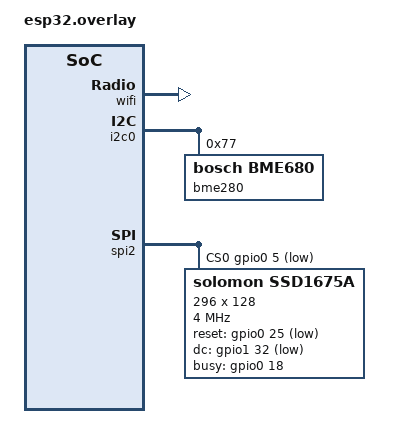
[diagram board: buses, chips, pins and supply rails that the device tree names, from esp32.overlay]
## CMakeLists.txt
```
# SPDX-License-Identifier: Apache-2.0

cmake_minimum_required(VERSION 3.20.0)
set(BOARD "esp32_devkitc_wroom")
set(DTC_OVERLAY_FILE "esp32.overlay")
find_package(Zephyr REQUIRED HINTS $ENV{ZEPHYR_BASE})
project(Minora)

target_sources(app PRIVATE src/main.c)

# file(GLOB ICON_SOURCES "icons/*.c")
# target_sources(app PRIVATE ${ICON_SOURCES})
target_sources(app PRIVATE icons/overcast.c)
target_sources(app PRIVATE icons/sunny.c)
target_sources(app PRIVATE icons/partly_cloudy.c)
target_sources(app PRIVATE icons/rainy.c)
target_sources(app PRIVATE icons/fog.c)
target_sources(app PRIVATE icons/bluetooth_14.c)
target_sources(app PRIVATE icons/kode_mono_bold_26.c)

target_sources(app PRIVATE src/wifi.c)
target_sources(app PRIVATE src/ble.c)
target_sources(app PRIVATE src/screen.c)
target_sources(app PRIVATE src/memory.c)
target_sources(app PRIVATE src/forecast.c)
```

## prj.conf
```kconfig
CONFIG_BT=y
CONFIG_LOG=y
CONFIG_BT_SMP=y
CONFIG_BT_PERIPHERAL=y
CONFIG_BT_DIS=y
CONFIG_BT_DIS_PNP=n
CONFIG_BT_DIS_MODEL="minora v1.0"
CONFIG_BT_DIS_MANUF="Julio Contreras Fuica"
CONFIG_BT_DEVICE_NAME="minora clock"
CONFIG_BT_DEVICE_APPEARANCE=256
CONFIG_BT_GATT_CLIENT=y
CONFIG_BT_DEVICE_NAME_DYNAMIC=y

CONFIG_EARLY_CONSOLE=y
CONFIG_POSIX_API=y

CONFIG_GPIO=y
CONFIG_SPI=y
CONFIG_ESP32_SPIM=y
CONFIG_DISPLAY=y
CONFIG_SSD16XX=y

CONFIG_I2C=y
# CONFIG_I2C_ESP32=y
CONFIG_SENSOR=y
# CONFIG_SENSOR_SHELL=y
CONFIG_BME680=y
CONFIG_SENSOR_ASYNC_API=y
CONFIG_SENSOR_LOG_LEVEL_DBG=y

# CONFIG_SHELL=y
# CONFIG_I2C_SHELL=y

CONFIG_FLASH=y
CONFIG_NVS=y

CONFIG_WIFI=y
CONFIG_HEAP_MEM_POOL_SIZE=20000
CONFIG_INIT_STACKS=y
CONFIG_NET_L2_WIFI_MGMT=y

CONFIG_SNTP=y

CONFIG_JSON_LIBRARY=y
CONFIG_FPU=y

#Esta ESP no tiene SPIRAM
# CONFIG_ESP_SPIRAM=y
# CONFIG_ESP32_WIFI_NET_ALLOC_SPIRAM=y

CONFIG_NETWORKING=y
CONFIG_NET_IPV4=y
CONFIG_NET_IPV6=y
CONFIG_NET_UDP=y
CONFIG_NET_TCP=y
CONFIG_DNS_RESOLVER=y
CONFIG_DNS_RESOLVER_AI_MAX_ENTRIES=10

CONFIG_NET_SOCKETS=y
CONFIG_HTTP_CLIENT=y

# Use DHCP for IPv4
CONFIG_NET_DHCPV4=y

# Or assign a static IP address (useful for testing)
# Following line must be enabled, otherwise WiFi connection fails with -1.
CONFIG_NET_CONFIG_SETTINGS=y
CONFIG_NET_HOSTNAME_ENABLE=y
CONFIG_NET_HOSTNAME="minora-"
CONFIG_NET_HOSTNAME_UNIQUE=y

# Enabling logging can be helpful for debugging
CONFIG_NET_LOG=y
CONFIG_WIFI_LOG_LEVEL_DBG=y
# CONFIG_NET_IPV6_LOG_LEVEL_DBG=y

CONFIG_NET_TX_STACK_SIZE=2048
CONFIG_NET_RX_STACK_SIZE=2048

CONFIG_NET_PKT_RX_COUNT=10
CONFIG_NET_PKT_TX_COUNT=10

CONFIG_NET_BUF_RX_COUNT=20
CONFIG_NET_BUF_TX_COUNT=20

CONFIG_NET_MAX_CONTEXTS=10

# Added to prevent error with missing #include <ethernet/eth_stats.h> for esp_wifi_drv.c
# Adding this line will cause CMAKE Warning: No SOURCES given to Zephyr library: drivers__ethernet
# Just ignore.
CONFIG_NET_L2_ETHERNET=y


CONFIG_LVGL=y
CONFIG_LV_CONF_MINIMAL=y
CONFIG_LV_USE_THEME_MONO=y
CONFIG_LV_USE_LOG=y
CONFIG_LV_USE_LABEL=y
CONFIG_LV_USE_IMG=y
CONFIG_LV_FONT_MONTSERRAT_16=y
CONFIG_LV_FONT_DEFAULT_MONTSERRAT_16=y
CONFIG_MAIN_STACK_SIZE=4096
CONFIG_LV_COLOR_DEPTH_1=y
CONFIG_LV_Z_BITS_PER_PIXEL=1
CONFIG_LV_Z_FULL_REFRESH=y
CONFIG_LV_Z_VDB_SIZE=100
CONFIG_LV_Z_MEM_POOL_SIZE=16384
CONFIG_LV_LOG_LEVEL_TRACE=y
```

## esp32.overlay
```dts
&wifi {
	status = "okay";
};

/ {
	chosen {
		zephyr,display = &ssd1675a;
	};
};


&i2c0 {
	status = "okay";
	bme280@77 {
		compatible = "bosch,bme680";
		status = "okay";
		reg = <0x77>;
	};
};


&spi2 {
    compatible = "espressif,esp32-spi";
    status = "okay";
    pinctrl-0 = <&spim2_default>; // zephyr\boards\xtensa\esp32\esp32-pinctrl.dtsi
    cs-gpios = <&gpio0 5 GPIO_ACTIVE_LOW>;
    ssd1675a: ssd1675a@0 { //gdem029e97
        compatible = "solomon,ssd1675a";
        reg = <0>;
        spi-max-frequency = <4000000>;
        reset-gpios = <&gpio0 25 GPIO_ACTIVE_LOW>;
        dc-gpios = <&gpio1 32 GPIO_ACTIVE_LOW>;
        busy-gpios = <&gpio0 18 GPIO_ACTIVE_HIGH>;
        height = <128>;
        width = <296>;
        //softstart = [d7 d6 9d];

		full {
            sdv = [41 a8 32];
            gdv = [15];
			vcom = <0x26>;
			border-waveform = <0x03>;
			dummy-line = <0x30>;
			gate-line-width = <0x0a>;
			lut = [
				/*
				 * Waveform Composition
				 *
				 * There are 7 Voltage Source (VS) Level groups
				 * n = {0,1,2...6}, each group contains
				 * 4 phases x = {A,B,C,D}.
				 * 2 bits represent the voltage in a phase:
				 * 00 – VSS, 01 – VSH1, 10 – VSL, 11 - VSH2
				 *
				 * For example 0x80 represents sequence VSL-VSS-VSS-VSS,
				 */
				80 60 40 00 00 00 00 /* LUT0: BB: VS 0..6 */
				10 60 20 00 00 00 00 /* LUT1: BW: VS 0..6 */
				80 60 40 00 00 00 00 /* LUT2: WB: VS 0..6 */
				10 60 20 00 00 00 00 /* LUT3: WW: VS 0..6 */
				00 00 00 00 00 00 00 /* LUT4: VCOM: VS 0..6 */
				/*
				 * TPnx determines the length of each phase,
				 * and RPn repeat count of a sequence.
				 * TPnA, TPnB, TPnC, TPnD, RPn
				 *
				 * For example TP0A=3, TP0B=3, and RP0=2:
				 * VS sequence                    : VSL-VSS-VSS-VSS
				 * number of Gate Pulses (length) :  3   3   0   0
				 * repeat count                   :        2
				 */
				03 03 00 00 02 /* TP0A TP0B TP0C TP0D RP0 */
				09 09 00 00 02 /* TP1A TP1B TP1C TP1D RP1 */
				03 03 00 00 02 /* TP2A TP2B TP2C TP2D RP2 */
				00 00 00 00 00 /* TP3A TP3B TP3C TP3D RP3 */
				00 00 00 00 00 /* TP4A TP4B TP4C TP4D RP4 */
				00 00 00 00 00 /* TP5A TP5B TP5C TP5D RP5 */
				00 00 00 00 00 /* TP6A TP6B TP6C TP6D RP6 */
			];
		};

		partial {
            sdv = [41 a8 32];
            gdv = [15];
			vcom = <0x26>;
			border-waveform = <0x01>;
			dummy-line = <0x30>;
			gate-line-width = <0x0a>;
			lut = [
				00 00 00 00 00 00 00 /* LUT0: BB: VS0..6 */
				80 00 00 00 00 00 00 /* LUT1: BW: VS0..6 */
				40 00 00 00 00 00 00 /* LUT2: WB: VS0..6 */
				80 00 00 00 00 00 00 /* LUT3: WW: VS0..6 */
				00 00 00 00 00 00 00 /* LUT4: VCOM: VS0..6 */
				0A 00 00 00 04 /* TP0A TP0B TP0C TP0D RP0 */
				00 00 00 00 00 /* TP1A TP1B TP1C TP1D RP1 */
				00 00 00 00 00 /* TP2A TP2B TP2C TP2D RP2 */
				00 00 00 00 00 /* TP3A TP3B TP3C TP3D RP3 */
				00 00 00 00 00 /* TP4A TP4B TP4C TP4D RP4 */
				00 00 00 00 00 /* TP5A TP5B TP5C TP5D RP5 */
				00 00 00 00 00 /* TP6A TP6B TP6C TP6D RP6 */
			];
		};
    };
};
```

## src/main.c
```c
/* main.c - Application main entry point */

#include <zephyr/types.h>
#include <stddef.h>
#include <string.h>
#include <errno.h>
#include <zephyr/sys/printk.h>
#include <zephyr/sys/byteorder.h>
#include <zephyr/kernel.h>

#include <time.h>
#include <zephyr/sys/timeutil.h>
#include <zephyr/logging/log.h>

#include <zephyr/device.h>
#include <zephyr/devicetree.h>
#include <zephyr/drivers/sensor.h>
#include <zephyr/drivers/sensor_data_types.h>
#include <zephyr/rtio/rtio.h>
#include <zephyr/dsp/print_format.h>

#include "screen.h"
#include "wifi.h"
#include "ble.h"
#include "memory.h"
#include "forecast.h"

const int gmt_offset = -4 * MIN_PER_HOUR * SEC_PER_MIN;

#define API_SERVER "api.open-meteo.com"
#define API_URL "/v1/forecast?latitude=-33.4569&longitude=-70.6483&daily=temperature_2m_max,temperature_2m_min,weather_code&timezone=auto&forecast_days=2&hourly=temperature_2m,weather_code"


const struct device *const dev = DEVICE_DT_GET_ANY(bosch_bme680);

SENSOR_DT_READ_IODEV(iodev, DT_COMPAT_GET_ANY_STATUS_OKAY(bosch_bme680),
		{SENSOR_CHAN_AMBIENT_TEMP, 0},
		{SENSOR_CHAN_HUMIDITY, 0},
		{SENSOR_CHAN_PRESS, 0});

RTIO_DEFINE(ctx, 1, 1);

static const struct device *check_bme680_device(void)
{
	if (dev == NULL) {
		/* No such node, or the node does not have status "okay". */
		printk("\nError: no device found.\n");
		return NULL;
	}

	if (!device_is_ready(dev)) {
		printk("\nError: Device \"%s\" is not ready; "
		       "check the driver initialization logs for errors.\n",
		       dev->name);
		return NULL;
	}

	printk("Found device \"%s\", getting sensor data\n", dev->name);
	return dev;
}


int main(void){

  printk("Iniciando app\n");

  const struct device *dev = check_bme680_device();

  memory_init();

  ble_init();

  screen_init();

  wifi_init();
  
  bool once = false;

  while (1) {
    k_sleep(K_SECONDS(1));
    struct timespec tspec;
    clock_gettime(CLOCK_REALTIME, &tspec);
    // tspec.tv_sec += gmt_offset;
    struct tm *tiempo;
    tiempo = gmtime(&tspec.tv_sec);
    printk("Hora: %02d:%02d:%02d del %02d/%02d/%04d\n", tiempo->tm_hour, tiempo->tm_min, tiempo->tm_sec, tiempo->tm_mday, tiempo->tm_mon + 1, tiempo->tm_year + 1900);
    printk("get epoch: %lld\n", tspec.tv_sec);

    if(!once && wifi_is_connected()){
      wifi_get_ntp();
      once = true;
    }

    forecast_update_data(wifi_is_connected(), tspec.tv_sec, API_SERVER, API_URL);

    screen_update_forecast(tspec.tv_sec);
    
    // screen_refresh(); //quitar esto para evitar valores por default al inicio

    struct sensor_value value;
    if (sensor_sample_fetch(dev) == 0){
			float temp;
			float hum;
		  if(sensor_channel_get(dev, SENSOR_CHAN_AMBIENT_TEMP, &value) == 0) {
				temp = value.val1 + (value.val2 * 10E-6);
				printk("Temp %0.2f C\n", temp);
			}
			if(sensor_channel_get(dev, SENSOR_CHAN_HUMIDITY, &value) == 0) {
				hum = value.val1 + (value.val2 * 10E-6);
				printk("Hum %0.2f %%\n", hum);
			}
      screen_set_indoor_sensor(temp, hum);

		}

		k_sleep(K_MSEC(1000));

  }
  return 0;
}
```

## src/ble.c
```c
#include "ble.h"

#include <zephyr/bluetooth/bluetooth.h>
#include <zephyr/bluetooth/hci.h>
#include <zephyr/bluetooth/conn.h>
#include <zephyr/bluetooth/uuid.h>
#include <zephyr/bluetooth/gatt.h>
#include <time.h>
#include <zephyr/sys/timeutil.h>

#include "wifi.h"
#include "screen.h"
#include "memory.h"

static ssize_t write_ssid(struct bt_conn *conn, const struct bt_gatt_attr *attr,
                          const void *buf, uint16_t len, uint16_t offset,
                          uint8_t flags);
                      
static ssize_t write_pass(struct bt_conn *conn, const struct bt_gatt_attr *attr,
                          const void *buf, uint16_t len, uint16_t offset,
                          uint8_t flag);

#define BT_UUID_WIFI_SVC         BT_UUID_DECLARE_16(0x1820) //Internet Protocol Support service

#define BT_UUID_WIFI_SSID_CHRC   BT_UUID_DECLARE_16(0x2b37) //Registered User

#define BT_UUID_WIFI_PASS_CHRC   BT_UUID_DECLARE_16(0x2a02) //Peripheral Privacy Flag

//Scan Response data
// static const struct bt_data sd[] = {
//  BT_DATA(BT_DATA_NAME_COMPLETE, DEVICE_NAME, DEVICE_NAME_LEN),
// };

//Advertisement data
static const struct bt_data ad[] = {
  BT_DATA_BYTES(BT_DATA_FLAGS, (BT_LE_AD_GENERAL | BT_LE_AD_NO_BREDR)),
  BT_DATA_BYTES(BT_DATA_UUID16_ALL,
          BT_UUID_16_ENCODE(BT_UUID_HRS_VAL),
          BT_UUID_16_ENCODE(BT_UUID_BAS_VAL),
          BT_UUID_16_ENCODE(BT_UUID_DIS_VAL))
};

BT_GATT_SERVICE_DEFINE(wifi_svc,
  BT_GATT_PRIMARY_SERVICE(BT_UUID_WIFI_SVC),

  /* WiFi */
  BT_GATT_CHARACTERISTIC(BT_UUID_WIFI_SSID_CHRC,
             BT_GATT_CHRC_READ | BT_GATT_CHRC_WRITE,
             BT_GATT_PERM_WRITE,
             NULL, write_ssid, wifi_ssid),

  BT_GATT_CUD("SSID Wi-Fi", BT_GATT_PERM_READ),

  BT_GATT_CHARACTERISTIC(BT_UUID_WIFI_PASS_CHRC,
             BT_GATT_CHRC_READ | BT_GATT_CHRC_WRITE,
             BT_GATT_PERM_WRITE,
             NULL, write_pass, wifi_pass),

  BT_GATT_CUD("PASS Wi-Fi", BT_GATT_PERM_READ)
);

// Función para manejar las solicitudes de escritura en la característica WiFi
static ssize_t write_ssid(struct bt_conn *conn, const struct bt_gatt_attr *attr,
                          const void *buf, uint16_t len, uint16_t offset,
                          uint8_t flags)
{
  if (offset + len > sizeof(wifi_ssid)) {
    return BT_GATT_ERR(BT_ATT_ERR_INVALID_OFFSET);
  }

  memset(wifi_ssid, 0, 50);
  memcpy(wifi_ssid + offset, buf, len);
  wifi_ssid_set = true;

  memory_set_wifi_ssid(wifi_ssid, strlen(wifi_ssid));
  printk("SSID seteado desde BT: %s\n", wifi_ssid);

  return len;
}

static ssize_t write_pass(struct bt_conn *conn, const struct bt_gatt_attr *attr,
                          const void *buf, uint16_t len, uint16_t offset,
                          uint8_t flags)
{
  if (offset + len > sizeof(wifi_pass)) {
    return BT_GATT_ERR(BT_ATT_ERR_INVALID_OFFSET);
  }

  memset(wifi_pass, 0, 50);
  memcpy(wifi_pass + offset, buf, len);
  wifi_pass_set = true;

  memory_set_wifi_pass(wifi_pass, strlen(wifi_pass));
  printk("PASS seteado desde BT: %s\n", wifi_pass);

  return len;
}


typedef struct {
  uint16_t year;
  uint8_t month;
  uint8_t day;
  uint8_t hours;
  uint8_t minutes;
  uint8_t seconds;
  uint8_t day_of_week;
  uint8_t exact_time_256;
  uint8_t adjust_reason;
} cts_datetime_t;


static struct {
  int offset;
  cts_datetime_t datetime;
} m_read_buf;

static struct bt_uuid_16 uuid = BT_UUID_INIT_16(0);
static struct bt_gatt_read_params read_params;

static struct tm hora = { 0 };

uint8_t cts_sync_read(struct bt_conn *conn, uint8_t err,
            struct bt_gatt_read_params *params,
            const void *data, uint16_t length)
{

  if (!data || length <= 0) {
    return BT_GATT_ITER_STOP;
  }

  memcpy(&m_read_buf.datetime + m_read_buf.offset, data, length);
  m_read_buf.offset += length;
  printk("%d:%d:%d %02d/%02d/%04d\n", m_read_buf.datetime.hours, m_read_buf.datetime.minutes, m_read_buf.datetime.seconds, m_read_buf.datetime.day, m_read_buf.datetime.month, m_read_buf.datetime.year);

  hora.tm_sec = m_read_buf.datetime.seconds;
  hora.tm_min = m_read_buf.datetime.minutes;
  hora.tm_hour = m_read_buf.datetime.hours;
  hora.tm_mday = m_read_buf.datetime.day;
  hora.tm_mon = m_read_buf.datetime.month - 1;
  hora.tm_year = m_read_buf.datetime.year - 1900;
  hora.tm_wday = m_read_buf.datetime.day_of_week;
  hora.tm_yday = -1;
  hora.tm_isdst = -1;



  time_t epoch = timeutil_timegm(&hora);
  struct timespec tspec;
  tspec.tv_sec = epoch;
  tspec.tv_nsec= 0;
  printk("Epoch: %lld\n", epoch);
  clock_settime(CLOCK_REALTIME, &tspec);

  return BT_GATT_ITER_CONTINUE;
}

static void connected(struct bt_conn *conn, uint8_t err)
{
  if (err) {
    printk("Connection failed (err 0x%02x)\n", err);
    return;
  }

  printk("Connected\n");
  memcpy(&uuid, BT_UUID_CTS_CURRENT_TIME, sizeof(uuid));
  memset(&read_params, 0, sizeof(read_params));
  read_params.func = cts_sync_read;
  read_params.by_uuid.uuid = (struct bt_uuid *) &uuid;
  read_params.by_uuid.start_handle = 0x0001;//attr->handle;
  read_params.by_uuid.end_handle = 0xffff;
  m_read_buf.offset = 0;
  bt_gatt_read(conn, &read_params);

  screen_show_bt_icon();
  
}

static void disconnected(struct bt_conn *conn, uint8_t reason)
{
  printk("Disconnected (reason 0x%02x)\n", reason);
  screen_hide_bt_icon();
}

BT_CONN_CB_DEFINE(conn_callbacks) = {
  .connected = connected,
  .disconnected = disconnected,
};

static void bt_ready(void)
{
  int err;

  printk("Bluetooth initialized\n");

  err = bt_le_adv_start(BT_LE_ADV_CONN_NAME, ad, ARRAY_SIZE(ad), NULL, 0);
  if (err) {
    printk("Advertising failed to start (err %d)\n", err);
    return;
  }

  printk("Advertising successfully started\n");
}

static void auth_cancel(struct bt_conn *conn)
{
  char addr[BT_ADDR_LE_STR_LEN];

  bt_addr_le_to_str(bt_conn_get_dst(conn), addr, sizeof(addr));

  printk("Pairing cancelled: %s\n", addr);
}

static struct bt_conn_auth_cb auth_cb_display = {
  .cancel = auth_cancel,
};

void ble_init(){

  bt_addr_le_t addr = {0};
  size_t count = 1;

  int err = bt_enable(NULL);
  if (err) {
    printk("Bluetooth init failed (err %d)\n", err);
    return;
  }

  bt_ready();

  bt_conn_auth_cb_register(&auth_cb_display);
  

  bt_id_get(&addr, &count);
  printk("%02x%02x\n", addr.a.val[1], addr.a.val[0]);
  char ble_name[30];
  sprintf(ble_name, "%s %02X%02X", CONFIG_BT_DEVICE_NAME, addr.a.val[1], addr.a.val[0]);

  bt_set_name(ble_name);
  bt_le_adv_update_data(ad, ARRAY_SIZE(ad), NULL, 0);

}
```

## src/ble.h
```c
#pragma once

#include <zephyr/kernel.h>
#include <zephyr/types.h>


void ble_init();
```

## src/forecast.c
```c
#include "forecast.h"
#include <zephyr/kernel.h>
#include <zephyr/net/socket.h>
#include <zephyr/data/json.h>
#include <zephyr/logging/log.h>

#include <zephyr/net/net_ip.h>
#include <zephyr/net/tls_credentials.h>
#include <zephyr/net/http/client.h>


LOG_MODULE_REGISTER(forecast);

#define MAX_RECV_BUF_LEN 3000
#define HTTP_PORT "80"
#define API_UPDATE_INTERVAL (3600*6) //seconds

static uint8_t recv_buf[MAX_RECV_BUF_LEN];

K_SEM_DEFINE(api_req_sem, 1, 1);

const struct json_obj_descr hourly_units_descr[] = {
  JSON_OBJ_DESCR_PRIM(struct hourly_units, time, JSON_TOK_STRING),
  JSON_OBJ_DESCR_PRIM(struct hourly_units, temperature_2m, JSON_TOK_STRING),
  JSON_OBJ_DESCR_PRIM(struct daily_units, weather_code, JSON_TOK_STRING)
};

const struct json_obj_descr hourly_descr[] = {
  JSON_OBJ_DESCR_ARRAY(struct hourly, time, 48, time_len, JSON_TOK_STRING),
  JSON_OBJ_DESCR_ARRAY(struct hourly, temperature_2m, 48, temperature_2m_len, JSON_TOK_FLOAT),
  JSON_OBJ_DESCR_ARRAY(struct hourly, weather_code, 48, weather_code_len, JSON_TOK_NUMBER),
};

const struct json_obj_descr daily_units_descr[] = {
  JSON_OBJ_DESCR_PRIM(struct daily_units, time, JSON_TOK_STRING),
  JSON_OBJ_DESCR_PRIM(struct daily_units, temperature_2m_max, JSON_TOK_STRING),
  JSON_OBJ_DESCR_PRIM(struct daily_units, temperature_2m_min, JSON_TOK_STRING),
  JSON_OBJ_DESCR_PRIM(struct daily_units, weather_code, JSON_TOK_STRING)
};

const struct json_obj_descr daily_descr[] = {
  JSON_OBJ_DESCR_ARRAY(struct daily, time, 2, time_len, JSON_TOK_STRING),
  JSON_OBJ_DESCR_ARRAY(struct daily, temperature_2m_max, 2, temperature_2m_max_len, JSON_TOK_FLOAT),
  JSON_OBJ_DESCR_ARRAY(struct daily, temperature_2m_min, 2, temperature_2m_min_len, JSON_TOK_FLOAT),
  JSON_OBJ_DESCR_ARRAY(struct daily, weather_code, 2, weather_code_len, JSON_TOK_NUMBER),
};

const struct json_obj_descr weather_data_descr[] = {
  JSON_OBJ_DESCR_PRIM(struct weather_data, latitude, JSON_TOK_FLOAT),
  JSON_OBJ_DESCR_PRIM(struct weather_data, longitude, JSON_TOK_FLOAT),
  JSON_OBJ_DESCR_PRIM(struct weather_data, generationtime_ms, JSON_TOK_FLOAT),
  JSON_OBJ_DESCR_PRIM(struct weather_data, utc_offset_seconds, JSON_TOK_NUMBER),
  JSON_OBJ_DESCR_PRIM(struct weather_data, timezone, JSON_TOK_STRING),
  JSON_OBJ_DESCR_PRIM(struct weather_data, timezone_abbreviation, JSON_TOK_STRING),
  JSON_OBJ_DESCR_PRIM(struct weather_data, elevation, JSON_TOK_FLOAT),
  JSON_OBJ_DESCR_OBJECT(struct weather_data, hourly_units, hourly_units_descr),
  JSON_OBJ_DESCR_OBJECT(struct weather_data, hourly, hourly_descr),
  JSON_OBJ_DESCR_OBJECT(struct weather_data, daily_units, daily_units_descr),
  JSON_OBJ_DESCR_OBJECT(struct weather_data, daily, daily_descr)
};

struct weather_data wd;
bool parse_ok = false;

static bool forecast_parse_JSON(char *json_data);


static int setup_socket(const char *server, const char *port, int *sock)
{
  int ret = 0;

  struct zsock_addrinfo hints, *res;

  memset(&hints, 0, sizeof(hints));
  hints.ai_family = AF_INET;
  hints.ai_socktype = SOCK_STREAM;

  ret = zsock_getaddrinfo(server, port, &hints, &res);
  if (ret != 0) {
    LOG_ERR("getaddrinfo() failed: %d", ret);
    return -EINVAL;
  }

  *sock = zsock_socket(res->ai_family, res->ai_socktype, res->ai_protocol);

  if (*sock < 0) {
    LOG_ERR("Failed to create HTTP socket (%d)", -errno);
    zsock_freeaddrinfo(res);
    return -errno;
  }

  ret = zsock_connect(*sock, res->ai_addr, res->ai_addrlen);
  if (ret < 0) {
    LOG_ERR("Cannot connect to remote (%d)", -errno);
    zsock_close(*sock);
    *sock = -1;
    zsock_freeaddrinfo(res);
    return -errno;
  }

  zsock_freeaddrinfo(res);
  return 0;
}

static void response_cb(struct http_response *rsp, enum http_final_call final_data, void *user_data)
{
  if (final_data == HTTP_DATA_MORE) {
    LOG_INF("Partial data received (%zd bytes)", rsp->data_len);
  } else if (final_data == HTTP_DATA_FINAL) {
    LOG_INF("All the data received (%zd bytes)", rsp->data_len);
  }

  LOG_INF("GET response status %s", rsp->http_status);
  // printk(strchr(rsp->recv_buf, '{'));
  parse_ok = forecast_parse_JSON(strchr(rsp->recv_buf, '{'));
}


int forecast_get(const char *server, const char *url){
  
  k_sem_take(&api_req_sem, K_FOREVER);

  struct sockaddr_in addr;
  int sock = -1;
  int32_t timeout = 10 * MSEC_PER_SEC;
  int ret = 0;

  ret = setup_socket(server, HTTP_PORT, &sock);
  if (sock < 0) {
    LOG_ERR("Cannot create HTTP connection.");
    return -ECONNABORTED;
  }

  struct http_request req;
  memset(&req, 0, sizeof(req));

  req.method = HTTP_GET;
  req.url = url;
  req.host = server;
  req.protocol = "HTTP/1.1";
  req.response = response_cb;
  req.recv_buf = recv_buf;
  req.recv_buf_len = sizeof(recv_buf);

  ret = http_client_req(sock, &req, timeout, NULL);

  zsock_close(sock);

  return ret;
}


static bool forecast_parse_JSON(char *json_data){

  int ret = json_obj_parse(json_data, strlen(json_data), weather_data_descr, ARRAY_SIZE(weather_data_descr), &wd);

  k_sem_give(&api_req_sem);

  if (ret < 0) {
    printk("Error parsing JSON: %d\n", ret);
    return false;
  } else {
    // printk("Maximas: %f   %f\n", wd.daily.temperature_2m_max[0], wd.daily.temperature_2m_max[1]);
    // printk("codes: %d %d\n", wd.daily.weather_code[0], wd.daily.weather_code[1]);
    // printk("timezone: %s (%s)\n", wd.timezone, wd.timezone_abbreviation);
    return true;
  }
}

struct weather_data *forecast_get_parsed_data(){
  if(parse_ok && k_sem_count_get(&api_req_sem)){
    return &wd;
  }else{
    return NULL;
  }
}


/********************************************************************************/

struct my_json_data {
  float my_float_number;
};

static const struct json_obj_descr my_json_descr[] = {
  JSON_OBJ_DESCR_PRIM(struct my_json_data, my_float_number, JSON_TOK_FLOAT),
};

void test_float(void)
{
  char *json_str = "{\"my_float_number\": 3.14}sjlf";
  struct my_json_data data;

  int ret = json_obj_parse(json_str, strlen(json_str), my_json_descr, ARRAY_SIZE(my_json_descr), &data);
  if (ret < 0) {
    printk("Failed to parse JSON: %d\n", ret);
  } else {
    printk("Parsed float number: %f\n", data.my_float_number);
  }
}

void forecast_update_data(bool conn, time_t t_now, const char *server, const char *url){
  static time_t last_update = 0;
  static int64_t delay = 0;
  static bool first_time = true;

  if (!conn){
    return;
  }

  if(!parse_ok && k_uptime_get() > delay){
    LOG_INF("Actualizando forecast");
    forecast_get(server, url);
    delay = k_uptime_get() + (1000*15);
    return;
  }

  t_now += wd.utc_offset_seconds;

  if(t_now - last_update >= API_UPDATE_INTERVAL){

    last_update = t_now - (t_now % API_UPDATE_INTERVAL);

    if(first_time){
      LOG_INF("First time, se actualizara a las %lld", last_update + API_UPDATE_INTERVAL);
      first_time = false;
      return;
    }

    LOG_INF("Actualizando forecast");
    forecast_get(server, url);

  }
}
```

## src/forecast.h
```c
#pragma once

#include "forecast_json_defs.h"

int forecast_get(const char *server, const char *url);

struct weather_data *forecast_get_parsed_data();

void forecast_update_data(bool conn, time_t t_now, const char *server, const char *url);
```

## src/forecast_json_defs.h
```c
#pragma once

#include <zephyr/data/json.h>

/******************IMPORTANT********************
Fue necesario modificar la librería JSON de Zephyr,
específicamente el archivo /zephyrproject/zephyr/lib/os/json.c,
que corresponde a este: https://github.com/zephyrproject-rtos/zephyr/blob/main/lib/utils/json.c

- En la función: static int64_t decode_value(struct json_obj *obj,
			    const struct json_obj_descr *descr,
			    struct json_token *value, void *field, void *val)

case JSON_TOK_OPAQUE: {
  struct json_obj_token *obj_token = field;

  obj_token->start = value->start;
  obj_token->length = value->end - value->start;
  return 0;
}
case JSON_TOK_FLOAT: {
  float *num = field;
  char *endptr;
  *num = strtol(value->start, &endptr, 10);
  if(*endptr == '.' && *(endptr + 1) >= '0' && *(endptr + 1) <= '9'){
  //Esta implementación soporta un solo número decimal
  //This implementation supports just one decimal place
    *num += (double)((*(endptr + 1) - '0') / 10.0);
  }else if (endptr != value->end) {
    return -EINVAL;
  }
  return 0;
}


- En la función: static ptrdiff_t get_elem_size(const struct json_obj_descr *descr)

  case JSON_TOK_FLOAT:
		return sizeof(float);
	case JSON_TOK_OPAQUE:
	case JSON_TOK_OBJ_ARRAY:
		return sizeof(struct json_obj_token);
    
*******************IMPORTANT********************/

struct hourly_units {
  const char *time;
  const char *temperature_2m;
  const char *weather_code;
};

struct hourly {
  const char *time[48];
  float temperature_2m[48];
  int weather_code[48];
  size_t time_len;
  size_t temperature_2m_len;
  size_t weather_code_len;
};

struct daily_units {
  const char *time;
  const char *temperature_2m_max;
  const char *temperature_2m_min;
  const char *weather_code;
};

struct daily {
  const char *time[2];
  float temperature_2m_max[2];
  float temperature_2m_min[2];
  int weather_code[2];
  size_t time_len;
  size_t temperature_2m_max_len;
  size_t temperature_2m_min_len;
  size_t weather_code_len;
};

struct weather_data {
  float latitude;
  float longitude;
  float generationtime_ms;
  int utc_offset_seconds;
  const char *timezone;
  const char *timezone_abbreviation;
  float elevation;
  struct hourly_units hourly_units;
  struct hourly hourly;
  struct daily_units daily_units;
  struct daily daily;
};
```

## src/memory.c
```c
#include "memory.h"
#include <zephyr/kernel.h>
#include <zephyr/device.h>
#include <string.h>
#include <zephyr/drivers/flash.h>
#include <zephyr/storage/flash_map.h>
#include <zephyr/fs/nvs.h>
#include <zephyr/logging/log.h>

LOG_MODULE_REGISTER(memory);


static struct nvs_fs fs;

#define NVS_PARTITION    storage_partition
#define NVS_PARTITION_DEVICE  FIXED_PARTITION_DEVICE(NVS_PARTITION)
#define NVS_PARTITION_OFFSET  FIXED_PARTITION_OFFSET(NVS_PARTITION)


#define WIFI_SSID_ID 1
#define WIFI_PASS_ID 2

void memory_init(){
  int rc = 0;
  struct flash_pages_info info;

  fs.flash_device = NVS_PARTITION_DEVICE;
  if (!device_is_ready(fs.flash_device)) {
    printk("Flash device %s is not ready\n", fs.flash_device->name);
    return;
  }
  fs.offset = NVS_PARTITION_OFFSET;
  rc = flash_get_page_info_by_offs(fs.flash_device, fs.offset, &info);
  if (rc) {
    printk("Unable to get page info\n");
    return;
  }
  fs.sector_size = info.size;
  fs.sector_count = 3U;

  rc = nvs_mount(&fs);
  if (rc) {
    printk("Flash Init failed\n");
    return;
  }
}

char* memory_check_wifi_ssid(){
  int rc = 0;
  static char ssid[30];
  memset(ssid, 0, sizeof(ssid));

  rc = nvs_read(&fs, WIFI_SSID_ID, ssid, sizeof(ssid));
  if (rc > 0) {
    LOG_INF("Id: %d, WiFi SSID: %s, len: %d", WIFI_SSID_ID, ssid, rc);
    return ssid;
  } else {
    LOG_INF("No exite wifi ssid");
    return NULL;
  }
}


char* memory_check_wifi_pass(){
  int rc = 0;
  static char pass[30];
  memset(pass, 0, sizeof(pass));

  rc = nvs_read(&fs, WIFI_PASS_ID, pass, sizeof(pass));
  if (rc > 0) {
    LOG_INF("Id: %d, WiFi PASS: %s, len: %d", WIFI_PASS_ID, pass, rc);
    return pass;
  } else {
    LOG_INF("No exite wifi pass");
    return NULL;
  }
}

void memory_set_wifi_ssid(char* ssid, size_t len){
  (void)nvs_write(&fs, WIFI_SSID_ID, ssid, len+1);//strlen(buf)+1
  //chequear valor de retorno
}

void memory_set_wifi_pass(char* pass, size_t len){
  (void)nvs_write(&fs, WIFI_PASS_ID, pass, len+1);//strlen(buf)+1
  //chequear valor de retorno
}

void memory_clear_wifi(){
  (void)nvs_delete(&fs, WIFI_SSID_ID);
  (void)nvs_delete(&fs, WIFI_PASS_ID);
}
```

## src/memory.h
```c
#pragma once
#include <zephyr/types.h>

void memory_init();

char* memory_check_wifi_ssid();

char* memory_check_wifi_pass();

void memory_set_wifi_ssid(char* ssid, size_t len);

void memory_set_wifi_pass(char* pass, size_t len);

void memory_clear_wifi();
```

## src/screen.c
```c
#include "screen.h"
#include <zephyr/kernel.h>
#include <zephyr/drivers/display.h>
#include <zephyr/sys/printk.h>
#include <lvgl.h>
#include <math.h>

#include "forecast.h"

#define BASE_EPOCH 1717203600

bool info_ready = false;

// LV_FONT_DECLARE(kode_mono_bold_20);
// LV_FONT_DECLARE(kode_mono_bold_18);
// LV_FONT_DECLARE(kode_mono_bold_24);
LV_FONT_DECLARE(kode_mono_bold_26);

LV_IMG_DECLARE(bluetooth_14);
LV_IMG_DECLARE(bluetooth_16);

LV_IMG_DECLARE(overcast);
LV_IMG_DECLARE(sunny);
LV_IMG_DECLARE(partly_cloudy);
LV_IMG_DECLARE(rainy);
LV_IMG_DECLARE(fog);

//Agregar soporte para inglés
char* str_days[7]   = {"dom", "lun", "mar", "mie", "jue", "vie", "sab"};
char* str_months[12] = {"ene", "feb", "mar", "abr", "may", "jun", "jul", "ago", "sep", "oct", "nov", "dic"};

const struct device *display;
static lv_obj_t * date_label;
static lv_obj_t * indoor_sensor;
static lv_obj_t * bt_icon;
static lv_obj_t * today_code;
static lv_obj_t * tomorrow_code;
static lv_obj_t * td_max_temp;
static lv_obj_t * td_min_temp;
static lv_obj_t * td_now_temp;
static lv_obj_t * tomorrow_date;
static lv_obj_t * tomorrow_minmax;

void screen_init(){
  
  lv_obj_t *hello_world_label;

  display = DEVICE_DT_GET(DT_CHOSEN(zephyr_display));

  if(display == NULL){
      printk("Error display\n");
  }

  if(!device_is_ready(display)){
      printk("Error dev display\n");
  }


  lv_disp_t *lv_disp;
  lv_disp = lv_disp_get_default();
  lv_disp_set_rotation(NULL, LV_DISP_ROT_NONE);

  static lv_style_t kode_26;
  lv_style_init(&kode_26);
  lv_style_set_text_font(&kode_26, &kode_mono_bold_26);

  today_code = lv_img_create(lv_scr_act());
  lv_img_set_src(today_code, &sunny);
  lv_obj_align(today_code, LV_ALIGN_BOTTOM_LEFT, 0, 0);

  indoor_sensor = lv_label_create(lv_scr_act());
  lv_label_set_text(indoor_sensor, "indoor");
  lv_obj_align(indoor_sensor, LV_ALIGN_CENTER, 0, -15);

  td_max_temp = lv_label_create(lv_scr_act());
  lv_label_set_text(td_max_temp, "13 C");
  lv_obj_align(td_max_temp, LV_ALIGN_BOTTOM_LEFT, 120, -30);


  td_min_temp = lv_label_create(lv_scr_act());
  lv_label_set_text(td_min_temp, "1 C");
  lv_obj_align(td_min_temp, LV_ALIGN_BOTTOM_LEFT, 120, -10);


  td_now_temp = lv_label_create(lv_scr_act());
  lv_label_set_text(td_now_temp, "10");
  lv_obj_add_style(td_now_temp, &kode_26, LV_PART_MAIN);
  lv_obj_align(td_now_temp, LV_ALIGN_BOTTOM_LEFT, 75, -10);


  lv_obj_t * td_now_text = lv_label_create(lv_scr_act());
  lv_label_set_text(td_now_text, "Ahora");
  lv_obj_align(td_now_text, LV_ALIGN_BOTTOM_LEFT, 65, -40);

  tomorrow_code = lv_img_create(lv_scr_act());
  lv_img_set_src(tomorrow_code, &sunny);
  lv_obj_align(tomorrow_code, LV_ALIGN_BOTTOM_MID, 50, 0);


  tomorrow_date = lv_label_create(lv_scr_act());
  lv_label_set_text(tomorrow_date, "tmw");
  lv_obj_align(tomorrow_date, LV_ALIGN_BOTTOM_RIGHT, -2, -40);

  tomorrow_minmax = lv_label_create(lv_scr_act());
  lv_label_set_text(tomorrow_minmax, "2 / 23");
  lv_obj_align(tomorrow_minmax, LV_ALIGN_BOTTOM_RIGHT, -2, -10);

  
  bt_icon = lv_img_create(lv_scr_act());
  lv_img_set_src(bt_icon, &bluetooth_14);
  lv_obj_align(bt_icon, LV_ALIGN_TOP_RIGHT, 0, 0);
  screen_hide_bt_icon();



  date_label = lv_label_create(lv_scr_act());
  lv_label_set_text(date_label, "dom 09 jun 2024");
  lv_obj_add_style(date_label, &kode_26, LV_PART_MAIN);
  lv_obj_align(date_label, LV_ALIGN_TOP_MID, 0, 2);
}

void screen_set_date(int wday, int mday, int month, int year){
  char date[30];
  // display_blanking_on(display);
  sprintf(date, "%s %02d %s %04d", str_days[wday], mday, str_months[month], year);
  lv_label_set_text(date_label, date);
  // display_blanking_off(display);
  // lv_task_handler();
}

const lv_img_dsc_t *weather_code_to_icon(uint8_t code){
  switch (code){
  case 0:
    return &sunny;
    break;

  case 1:
  case 2:
    return &partly_cloudy;
    break;

  case 3:
    return &overcast;
    break;

  case 45:
  case 48:
    return &fog;
    break;
  
  default:
    return &rainy;
    break;
  }
}

void screen_set_tomorrow_info(int wday, int mday, float min, float max, int code){
  char str[10];
  sprintf(str, "%s %02d", str_days[wday], mday);
  lv_label_set_text(tomorrow_date, str);

  sprintf(str, "%d\xB0 / %d\xB0", (int)roundf(min), (int)roundf(max));
  lv_label_set_text(tomorrow_minmax, str);

  lv_img_set_src(tomorrow_code, weather_code_to_icon(code));
}

void screen_set_today_info(float now, float min, float max, int code){
  char str[10];
  sprintf(str, "%d", (int)roundf(now));//Agregar \xB0 en font   intentar centrar
  lv_label_set_text(td_now_temp, str);

  sprintf(str, "%d \xB0"  "C", (int)roundf(min));
  lv_label_set_text(td_min_temp, str);

  sprintf(str, "%d \xB0"  "C", (int)roundf(max));
  lv_label_set_text(td_max_temp, str);

  lv_img_set_src(today_code, weather_code_to_icon(code));
}

//fuerza partial update que permite limpiar la pantalla, como complete update pero sin parpadeo molesto
void screen_force_refresh(){
  for(int i = 0; i<5; i++){
    lv_label_set_text(td_max_temp, NULL);
    lv_task_handler();
  }
  display_blanking_off(display);
}

void screen_update_forecast(time_t td){
  static time_t last_update = BASE_EPOCH;
  struct weather_data *wd = forecast_get_parsed_data();


  if(td > BASE_EPOCH && (td - last_update >= 3600) && wd != NULL){

    last_update = td - (td % 3600);

    td += wd->utc_offset_seconds;
    struct tm *now = gmtime(&td);
    screen_set_today_info(wd->hourly.temperature_2m[now->tm_hour], wd->daily.temperature_2m_min[0], wd->daily.temperature_2m_max[0], wd->hourly.weather_code[now->tm_hour]);
    screen_set_date(now->tm_wday, now->tm_mday, now->tm_mon, now->tm_year + 1900);

    time_t tmw = td + (24*3600);
    struct tm *tomorrow = gmtime(&tmw);
    screen_set_tomorrow_info(tomorrow->tm_wday, tomorrow->tm_mday, wd->daily.temperature_2m_min[1], wd->daily.temperature_2m_max[1], wd->daily.weather_code[1]);
    screen_force_refresh();

    info_ready = true;
  }
}

//Esto sí funciona para forzar una actualización completa
    // if(tiempo->tm_sec%10 == 0){
    //     display_blanking_on(display);
    //     lv_label_set_text(date_label, fecha);
    //     display_blanking_off(display);
    //     lv_task_handler();
    // }


void screen_set_indoor_sensor(float temp, float hum){
  static int64_t last_indoor_update = 0;
  
  if(last_indoor_update == 0 || (k_uptime_get() - last_indoor_update) >= 30000){
    last_indoor_update = k_uptime_get();

    char str[30];
    sprintf(str, "%0.2f C    %0.2f %%", temp, hum);
    lv_label_set_text(indoor_sensor, str);

    if(info_ready){
      // lv_task_handler();
      screen_force_refresh();
    }  
  }
}

void screen_show_bt_icon(){
  lv_obj_clear_flag(bt_icon, LV_OBJ_FLAG_HIDDEN);
}

void screen_hide_bt_icon(){
  lv_obj_add_flag(bt_icon, LV_OBJ_FLAG_HIDDEN);
}

void screen_refresh(){
  lv_task_handler();
}
```

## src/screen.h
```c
#pragma once

#include <time.h>
#include <zephyr/sys/timeutil.h>

void screen_init();

void screen_set_date(int wday, int mday, int month, int year);

void screen_show_bt_icon();

void screen_hide_bt_icon();

void screen_refresh();

void screen_update_forecast(time_t t);

void screen_set_indoor_sensor(float temp, float hum);
```

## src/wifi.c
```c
#include "wifi.h"
#include <zephyr/net/net_if.h>
#include <zephyr/net/wifi_mgmt.h>
#include <zephyr/net/net_event.h>
#include <zephyr/logging/log.h>
#include <zephyr/net/sntp.h>
#include <arpa/inet.h>
#include <zephyr/sys/timeutil.h>

#include "memory.h"

#define RECONNECT_INTERVAL K_SECONDS(10)

#define DNS_TIMEOUT (5 * MSEC_PER_SEC)

#define NTP_SERVER "ntp.shoa.cl"
#define SNTP_PORT "123"

LOG_MODULE_REGISTER(wifi);

bool got_ip = false;

// Definir una variable global para almacenar el valor de la característica
char wifi_ssid[WIFI_MAX_CHAR_CREDS];
bool wifi_ssid_set = false;

char wifi_pass[WIFI_MAX_CHAR_CREDS];
bool wifi_pass_set = false;


static struct net_mgmt_event_callback wifi_cb;
static struct net_mgmt_event_callback ipv4_cb;

static struct k_work_delayable reconnect_work;
static void reconnect_work_handler(struct k_work *work);


static void handle_wifi_connect_result(struct net_mgmt_event_callback *cb)
{
  const struct wifi_status *status = (const struct wifi_status *)cb->info;

  if (status->status)
  {
    printk("Connection request failed (%d)\n", status->status);
  }
  else
  {
    printk("Connected\n");
  }
}

static void handle_wifi_disconnect_result(struct net_mgmt_event_callback *cb)
{
  const struct wifi_status *status = (const struct wifi_status *)cb->info;

  if (status->status)
  {
    printk("Disconnection request (%d)\n", status->status);
  }
  else
  {
    LOG_INF("WiFi disconnected, scheduling reconnection...");
    got_ip = false;
    k_work_schedule(&reconnect_work, RECONNECT_INTERVAL);
  }
}

static void handle_ipv4_result(struct net_if *iface)
{
  int i = 0;

  for (i = 0; i < NET_IF_MAX_IPV4_ADDR; i++) {

    char buf[NET_IPV4_ADDR_LEN];

    if (iface->config.ip.ipv4->unicast[i].addr_type != NET_ADDR_DHCP) {
      continue;
    }

    printk("IPv4 address: %s\n",
            net_addr_ntop(AF_INET,
                            &iface->config.ip.ipv4->unicast[i].address.in_addr,
                            buf, sizeof(buf)));
    printk("Subnet: %s\n",
            net_addr_ntop(AF_INET,
                            &iface->config.ip.ipv4->netmask,
                            buf, sizeof(buf)));
    printk("Router: %s\n",
            net_addr_ntop(AF_INET,
                            &iface->config.ip.ipv4->gw,
                            buf, sizeof(buf)));
  }

  got_ip = true;
  k_work_cancel_delayable(&reconnect_work); // Cancelar reintentos si se conecta con éxito
}

static void wifi_mgmt_event_handler(struct net_mgmt_event_callback *cb, uint32_t mgmt_event, struct net_if *iface)
{
  switch (mgmt_event)
  {

    case NET_EVENT_WIFI_CONNECT_RESULT:
        handle_wifi_connect_result(cb);
        break;

    case NET_EVENT_WIFI_DISCONNECT_RESULT:
        handle_wifi_disconnect_result(cb);
        break;

    case NET_EVENT_IPV4_ADDR_ADD:
        handle_ipv4_result(iface);
        break;

    default:
        break;
  }
}

bool wifi_connect(uint8_t* ssid, ssize_t len_ssid, uint8_t* pass, ssize_t len_pass)
{
  struct net_if *iface = net_if_get_default();

  struct wifi_connect_req_params wifi_params = {0};

  wifi_params.ssid = ssid;
  wifi_params.psk = pass;
  wifi_params.ssid_length = len_ssid;
  wifi_params.psk_length = len_pass;
  wifi_params.channel = WIFI_CHANNEL_ANY;
  wifi_params.security = WIFI_SECURITY_TYPE_PSK;
  wifi_params.band = WIFI_FREQ_BAND_2_4_GHZ; 
  wifi_params.mfp = WIFI_MFP_OPTIONAL;

  printk("Connecting to SSID: %s\n", wifi_params.ssid);

  if (net_mgmt(NET_REQUEST_WIFI_CONNECT, iface, &wifi_params, sizeof(struct wifi_connect_req_params)))
  {
    printk("WiFi Connection Request Failed\n");
    return false;
  }
  return true;
}

void wifi_status(void)
{
  struct net_if *iface = net_if_get_default();
  
  struct wifi_iface_status status = {0};

  if (net_mgmt(NET_REQUEST_WIFI_IFACE_STATUS, iface, &status,  sizeof(struct wifi_iface_status)))
  {
    printk("WiFi Status Request Failed\n");
  }

  printk("\n");

  if (status.state >= WIFI_STATE_ASSOCIATED) {
    printk("SSID: %-32s\n", status.ssid);
    printk("Band: %s\n", wifi_band_txt(status.band));
    printk("Channel: %d\n", status.channel);
    printk("Security: %s\n", wifi_security_txt(status.security));
    printk("RSSI: %d\n", status.rssi);
  }
}

void wifi_disconnect(void)
{
  struct net_if *iface = net_if_get_default();

  if (net_mgmt(NET_REQUEST_WIFI_DISCONNECT, iface, NULL, 0))
  {
    printk("WiFi Disconnection Request Failed\n");
  }
}

void wifi_init(){
  memset(wifi_ssid, 0, WIFI_MAX_CHAR_CREDS);
  memset(wifi_pass, 0, WIFI_MAX_CHAR_CREDS);

  net_mgmt_init_event_callback(&wifi_cb, wifi_mgmt_event_handler,
                                NET_EVENT_WIFI_CONNECT_RESULT | NET_EVENT_WIFI_DISCONNECT_RESULT);

  net_mgmt_init_event_callback(&ipv4_cb, wifi_mgmt_event_handler, NET_EVENT_IPV4_ADDR_ADD);

  net_mgmt_add_event_callback(&wifi_cb);
  net_mgmt_add_event_callback(&ipv4_cb);

  char* temp_ssid;
  char* temp_pass;

  temp_ssid = memory_check_wifi_ssid();
  if(temp_ssid != NULL){
    memcpy(wifi_ssid, temp_ssid, strlen(temp_ssid));
    // LOG_INF("copiando %s len: %d", temp_ssid, strlen(temp_ssid));
    wifi_ssid_set = true;
  }

  temp_pass = memory_check_wifi_pass();
  if(temp_pass != NULL){
    memcpy(wifi_pass, temp_pass, strlen(temp_pass));
    // LOG_INF("copiando %s len: %d", temp_pass, strlen(temp_pass));
    wifi_pass_set = true;
  }

  k_work_init_delayable(&reconnect_work, reconnect_work_handler);

  LOG_INF("Attempting initial connection to WiFi...");
  reconnect_work_handler(NULL);
}


int wifi_get_ntp(void)
{
  struct sntp_ctx ctx;
  struct sntp_time sntp_time;
  int rv;

  struct zsock_addrinfo hints, *res;

  memset(&hints, 0, sizeof(hints));
  hints.ai_family = AF_INET;
  hints.ai_socktype = SOCK_STREAM;

  rv = zsock_getaddrinfo(NTP_SERVER, SNTP_PORT, &hints, &res);

  rv = sntp_init(&ctx, res->ai_addr, res->ai_addrlen);
  if (rv < 0) {
    LOG_ERR("Failed to init SNTP IPv4 ctx: %d", rv);
    return rv;
  }

  LOG_INF("Sending SNTP IPv4 request...");
  rv = sntp_query(&ctx, 4 * MSEC_PER_SEC, &sntp_time);
  if (rv < 0) {
    LOG_ERR("SNTP IPv4 request failed: %d", rv);
    sntp_close(&ctx);
    return rv;
  }

  LOG_INF("Status: %d", rv);

  struct timespec tspec;
  tspec.tv_sec = sntp_time.seconds;
  tspec.tv_nsec= 0;
  printk("Epoch: %lld\n", sntp_time.seconds);
  clock_settime(CLOCK_REALTIME, &tspec);

  sntp_close(&ctx);
  zsock_freeaddrinfo(res);
  return 0;
}

bool wifi_is_connected(){
  return got_ip;
}

static void reconnect_work_handler(struct k_work *work){
  if(wifi_ssid_set && wifi_pass_set){
    if(!wifi_connect(wifi_ssid, strlen(wifi_ssid), wifi_pass, strlen(wifi_pass))){
      k_work_schedule(&reconnect_work, RECONNECT_INTERVAL);
    }
  }
}
```

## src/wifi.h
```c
#pragma once

#include <zephyr/kernel.h>
#include <zephyr/types.h>
#include <stddef.h>

#define WIFI_MAX_CHAR_CREDS 30

extern char wifi_ssid[WIFI_MAX_CHAR_CREDS];
extern bool wifi_ssid_set;

extern char wifi_pass[WIFI_MAX_CHAR_CREDS];
extern bool wifi_pass_set;

bool wifi_connect(uint8_t* ssid, ssize_t len_ssid, uint8_t* pass, ssize_t len_pass);

void wifi_init();

int wifi_get_ntp();

bool wifi_is_connected();
```
